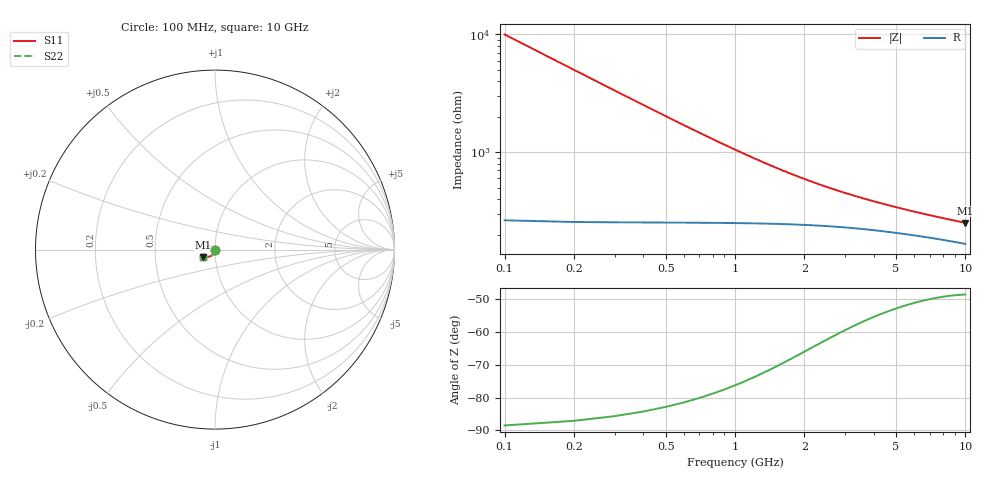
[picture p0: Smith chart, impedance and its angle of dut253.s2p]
! Touchstone file exported from HFSS 2024.1.0
!  File:  C:/UserFiles/LocalFiles/RDL_TSV_Batchsim/temp_TSV1_253_1778769313.aedt
!  Generated:  10:39:03 PM May 14, 2026
!  Design:  TSV1
!  Project:  temp_TSV1_253_1778769313
!  Setup:  Setup1
!  Solution:  Sweep
! Variables:
!  dtsv = 18.03um
!  hbump = 3um
!  htsv = 72.89um
!  lrdl = 252.1521522um
!  p = 40
!  p1 = 48.27um
!  t = 500um
!  trdl = 3um
!  wrdl = 24.89489489um
# GHz S MA R 50.000000
! Terminal data exported
! Port[1] = TSV22_T1
! Port[2] = TSV22_T2
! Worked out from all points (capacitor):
!   100 points, 100 MHz to 10 GHz, reference 50 ohm
!   read as one part in shunt: C = 159 fF near 100 MHz
!   lowest |Z| = 251 ohm at 10 GHz (marker M1)
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0.1  0.00222 -89.9  0.9999 -0.2  0.9999 -0.2  0.00222 -89.9
! Gamma 0 0 0 0
! Port Impedance 50 0 50 0
0.2  0.00443 -92.5  0.9996 -0.3  0.9996 -0.3  0.00443 -92.5
0.3  0.006625 -94.5  0.9993 -0.5  0.9993 -0.5  0.006625 -94.5
0.4  0.008797 -96.3  0.9988 -0.6  0.9988 -0.6  0.008797 -96.3
0.5  0.01094 -98.1  0.9983 -0.8  0.9983 -0.8  0.01094 -98.1
0.6  0.01305 -99.8  0.9976 -0.9  0.9976 -0.9  0.01305 -99.8
0.7  0.01511 -101.5  0.9968 -1.1  0.9968 -1.1  0.01511 -101.5
0.8  0.01713 -103.1  0.9959 -1.2  0.9959 -1.2  0.01713 -103.1
0.9  0.0191 -104.6  0.9949 -1.3  0.9949 -1.3  0.0191 -104.6
1.1  0.02288 -107.6  0.9928 -1.6  0.9928 -1.6  0.02288 -107.6
1.4  0.0281 -111.8  0.9893 -1.9  0.9893 -1.9  0.0281 -111.8
1.6  0.03128 -114.3  0.9869 -2.1  0.9869 -2.1  0.03128 -114.3
1.8  0.03423 -116.7  0.9845 -2.3  0.9845 -2.3  0.03423 -116.7
2.1  0.03823 -119.9  0.981 -2.5  0.981 -2.5  0.03823 -119.9
2.5  0.04288 -123.6  0.9765 -2.8  0.9765 -2.8  0.04288 -123.6
2.9  0.04687 -126.7  0.9724 -3.0  0.9724 -3.0  0.04687 -126.7
3.4  0.05112 -129.9  0.9678 -3.3  0.9678 -3.3  0.05112 -129.9
4.2  0.05667 -133.9  0.9614 -3.6  0.9614 -3.6  0.05667 -133.9
5.1  0.06168 -137.2  0.9554 -3.9  0.9554 -3.9  0.06168 -137.2
6.7  0.06855 -141.5  0.9472 -4.4  0.9472 -4.4  0.06855 -141.5
8.4  0.07398 -144.6  0.9408 -4.9  0.9408 -4.9  0.07398 -144.6
10  0.07786 -146.8  0.9362 -5.4  0.9362 -5.4  0.07786 -146.8
